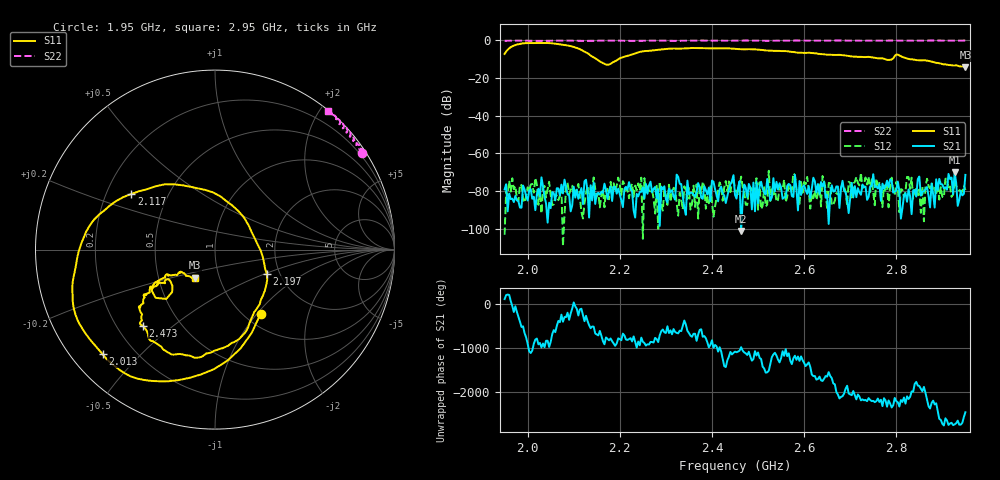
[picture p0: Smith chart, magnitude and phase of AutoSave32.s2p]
!Agilent N9923A: A.07.32
!Date: Thursday, 02 June 2016 22:58:28
!Model: N9923A
!Serial: MY52412257
!GPS Latitude:
!GPS Longitude:
!GPS TimeStamp: 0001-01-01 00:00:00Z
!GPS Seconds Since Last Read: 0
!CHECKSUM:1068961469
!Correction: S11(ON U)S21(ON U)S12(ON U)S22(ON U)
!S2P File: Measurements:S11,S21,S12,S22:
# Hz S DB R 50
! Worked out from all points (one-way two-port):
!   301 points, 1.95 GHz to 2.95 GHz, reference 50 ohm
!   highest |S21| = -69.94 dB at 2.927 GHz (marker M1); lowest = -101.3 dB at 2.463 GHz (marker M2)
!   lowest |S11| = -14.3 dB at 2.95 GHz (marker M3), VSWR 1.48, Z = 38.1 - j12.3 ohm
!   |S11| at or under -10 dB: 2.15 GHz to 2.196 GHz (45.93 MHz wide, 2.11 % of centre); 2.777077 GHz to 2.790591 GHz (13.51 MHz wide, 0.485 % of centre); 2.834 GHz to end of sweep
!   |S22| runs from -0.2 to 0.0 dB; largest |S21 - S12| = 0.00039
!   S11 on the Smith chart (normalised r, x): 1.95 GHz: 1.18, -1.05; 2.013 GHz: 0.09, -0.39; 2.117 GHz: 0.31, +0.28; 2.197 GHz: 1.71, -0.51; 2.473 GHz: 0.31, -0.39; 2.95 GHz: 0.76, -0.25
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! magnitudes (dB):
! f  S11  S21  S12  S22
! 1.95 GHz  -7.1  -79.1  -103.2  -0.2
! 2.013 GHz  -1.4  -83.0  -80.8  -0.2
! 2.117 GHz  -5.0  -78.4  -91.2  -0.2
! 2.12 GHz  -5.5  -86.9  -94.6  -0.2
! 2.197 GHz  -10.0  -78.7  -72.8  -0.1
! 2.287 GHz  -4.8  -98.5  -75.0  -0.1
! 2.323 GHz  -4.3  -71.3  -86.4  -0.2
! 2.453 GHz  -4.5  -84.0  -79.8  -0.1
! 2.463 GHz  -4.6  -101.3  -72.3  0.0
! 2.473 GHz  -4.7  -78.2  -87.2  0.0
! 2.52 GHz  -5.3  -73.6  -87.2  -0.2
! 2.523 GHz  -5.3  -79.5  -69.2  -0.2
! 2.527 GHz  -5.4  -85.0  -85.2  -0.1
! 2.577 GHz  -6.1  -83.1  -70.6  0.0
! 2.62 GHz  -6.8  -72.9  -83.8  -0.1
! 2.723 GHz  -8.7  -81.9  -70.3  -0.1
! 2.783 GHz  -10.3  -77.9  -88.6  0.0
! 2.913 GHz  -13.0  -70.9  -79.1  -0.1
! 2.923 GHz  -13.3  -81.8  -81.6  -0.1
! 2.927 GHz  -13.3  -69.9  -73.8  -0.1
! 2.933 GHz  -13.4  -87.9  -78.3  -0.1
! 2.95 GHz  -14.3  -71.4  -79.5  0.0
